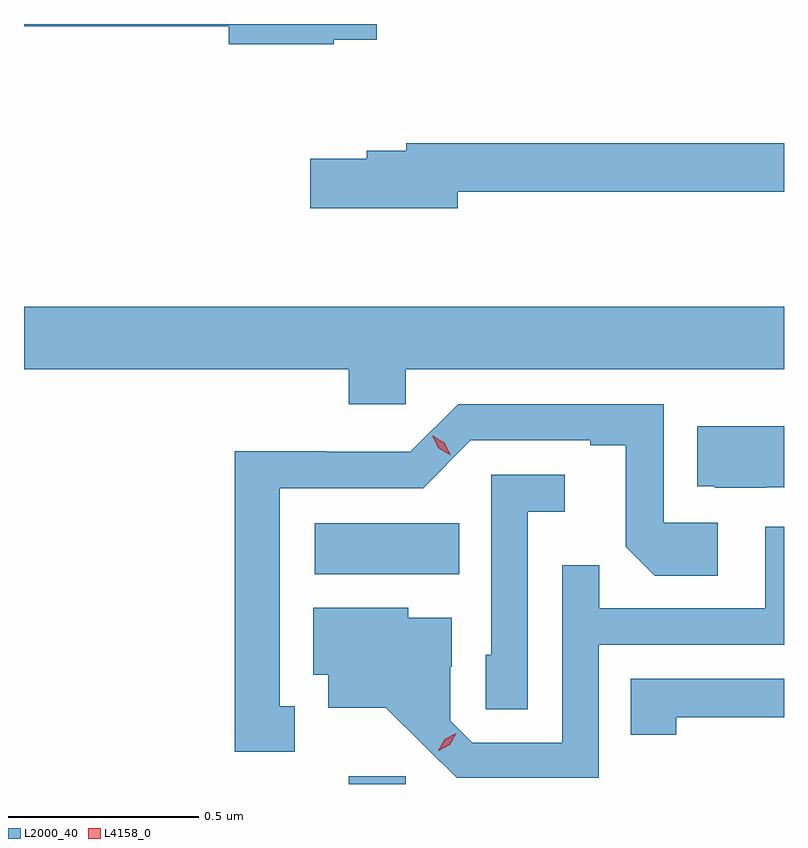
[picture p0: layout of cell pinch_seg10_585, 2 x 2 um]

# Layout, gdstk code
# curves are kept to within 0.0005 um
import gdstk
lib = gdstk.Library(unit=1e-6, precision=1e-09)
def R(c, l, rs):  # rectangles x0, y0, x1, y1
    for r in rs: c.add(gdstk.rectangle(r[:2], r[2:], *l))
def P(c, l, *ps):  # polygons
    for p in ps: c.add(gdstk.Polygon(p, *l))
L2000_40 = (2000, 40)
L4158_0 = (4158, 0)

pinch_seg10_585 = lib.new_cell('pinch_seg10_585')
R(pinch_seg10_585, L2000_40, [(334.379,1281.908,334.53,1281.928), (334.29,1282.46,334.67,1282.594)])
P(pinch_seg10_585, L2000_40, [(334.34,1283.867),(334.453,1283.867),(334.453,1283.908),(333.525,1283.908),(333.525,1283.902),(334.064,1283.902),(334.064,1283.855),(334.34,1283.855)],
  [(334.666,1283.466),(335.525,1283.466),(335.525,1283.594),(334.531,1283.594),(334.531,1283.575),(334.427,1283.575),(334.427,1283.553),(334.278,1283.553),(334.278,1283.423),(334.666,1283.423)],
  [(334.53,1283),(335.525,1283),(335.525,1283.164),(333.525,1283.164),(333.525,1283),(334.379,1283),(334.379,1282.907),(334.53,1282.907)],
  [(334.237,1282.113),(334.198,1282.113),(334.198,1282.686),(334.575,1282.686),(334.701,1282.812),(335.015,1282.812),(335.015,1282.8),(335.109,1282.8),(335.109,1282.532),(335.185,1282.456),(335.35,1282.456),(335.35,1282.596),(335.208,1282.596),(335.208,1282.908),(334.668,1282.908),(334.542,1282.782),(334.32,1282.782),(334.32,1282.784),(334.08,1282.784),(334.08,1281.993),(334.237,1281.993)],
  [(335.478,1282.689),(335.525,1282.689),(335.525,1282.849),(335.297,1282.849),(335.297,1282.691),(335.341,1282.691),(335.344,1282.688),(335.478,1282.688)],
  [(334.851,1282.625),(334.948,1282.625),(334.948,1282.722),(334.755,1282.722),(334.755,1282.248),(334.74,1282.248),(334.74,1282.105),(334.851,1282.105)],
  [(335.037,1282.275),(335.525,1282.275),(335.525,1282.585),(335.475,1282.585),(335.475,1282.371),(335.039,1282.371),(335.039,1282.484),(334.941,1282.484),(334.941,1282.017),(334.704,1282.017),(334.647,1282.074),(334.647,1282.216),(334.651,1282.216),(334.651,1282.345),(334.536,1282.345),(334.536,1282.372),(334.286,1282.372),(334.286,1282.196),(334.325,1282.196),(334.325,1282.109),(334.477,1282.109),(334.664,1281.924),(335.037,1281.924)],
  [(335.241,1282.084),(335.525,1282.084),(335.525,1282.185),(335.122,1282.185),(335.122,1282.038),(335.241,1282.038)])
P(pinch_seg10_585, L4158_0, [(334.615,1281.996),(334.615,1281.996),(334.632,1282.026),(334.663,1282.041),(334.663,1282.041),(334.663,1282.041),(334.646,1282.011),(334.616,1281.996)],
  [(334.648,1282.773),(334.616,1282.792),(334.599,1282.824),(334.599,1282.825),(334.6,1282.825),(334.631,1282.806),(334.648,1282.773),(334.648,1282.773)])

lib.write_gds('pinch_seg10_585.gds')
